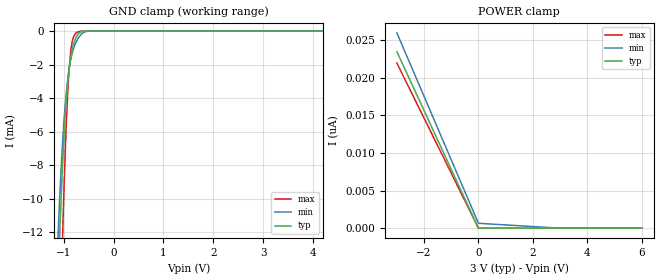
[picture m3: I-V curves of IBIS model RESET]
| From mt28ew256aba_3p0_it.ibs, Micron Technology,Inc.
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|   Model RESET
[Model]   RESET
Model_type   Input
Vinl = 0.800V
Vinh = 2.100V
|   typ   min   max
C_comp   6.823pF   6.323pF   7.323pF
[Voltage Range]   3.000V   2.700V   3.600V
| Junction Temperature (Ambient temp is 35C typ, 85C min, -40C max)
[Temperature Range]   50.0   100.0   -40.0
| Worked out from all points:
|   GND clamp passes 1 mA (typ) near -0.82 V on its own axis
[GND Clamp]
|   Voltage   I(typ)   I(min)   I(max)
-3V       -246.7mA   -227.1mA   -299.9mA
-1.119V   -15.25mA   -12.51mA   -23.02mA
-1.083V   -12.2mA    -9.992mA   -18.78mA
-1.029V   -8.242mA   -6.895mA   -12.74mA
-1.011V   -7.165mA   -6.011mA   -10.9mA
-957mV    -4.349mA   -3.896mA   -6.072mA
-921mV    -3.035mA   -2.877mA   -3.659mA
-894mV    -2.267mA   -2.28mA    -2.317mA
-831mV    -1.108mA   -1.326mA   -634.1uA
-714mV    -185.7uA   -448.7uA   -41.37uA
-489mV    -1.61uA    -6.201uA   -136nA
6V        0A         0A         0A
[POWER Clamp]
|   Voltage   I(typ)   I(min)   I(max)
-3V       23.45nA    25.95nA    21.94nA
0V        0A         648.4pA    0A
2.994V    NA         0A         NA
6V        0A         0A         0A
